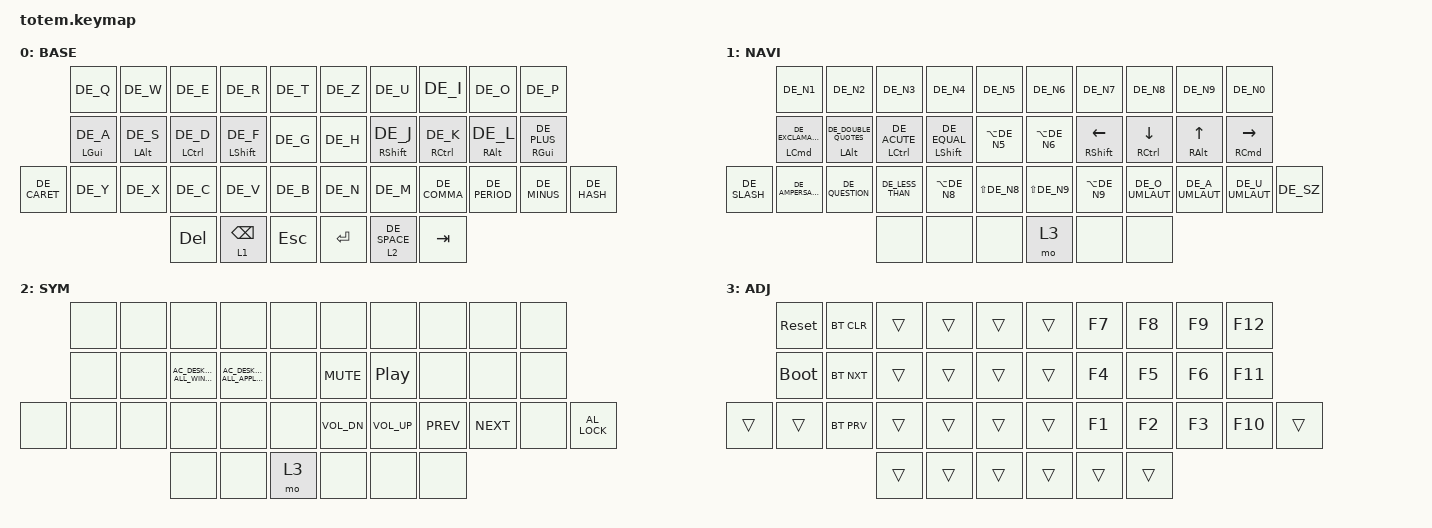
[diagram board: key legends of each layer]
//
//                                                        ▀▀▀▀▀     ▀▀▀▀▀          ▀▀█▀▀
//                                                        ▄▀▀▀▄  ▄  ▄▀▀▀▄  ▄  ▄▀▀▀▄  █  ▄▀▀▀▄
//                                                        █   █  █  █   █  █  █   █  █  █   █
//                                                         ▀▀▀   █   ▀▀▀   █   ▀▀▀   ▀   ▀▀▀
//                                                               █      ▄▄▄█▄▄▄    █   █  
//                                                               ▀      █  █  █     █▄█
//                                                             ▀▀▀▀▀    █  █  █      ▀
//                                                                      ▀  ▀  ▀
//
// ▄▄▄▄▄▄▄▄▄▄▄▄▄▄▄▄▄▄▄▄▄▄▄▄▄▄▄▄▄▄▄▄▄▄▄▄▄▄▄▄▄▄▄▄▄▄▄▄▄▄▄▄▄▄▄▄▄▄▄▄▄▄▄▄▄▄▄▄▄▄▄▄▄▄▄▄▄▄▄▄▄▄▄▄▄▄▄▄▄▄▄▄▄▄▄▄▄▄▄▄▄▄▄▄▄▄▄▄▄▄▄▄▄▄▄▄▄▄▄▄▄▄▄▄▄▄▄▄▄▄▄▄▄▄▄▄▄▄▄▄▄▄▄▄▄▄▄▄▄

#include <behaviors.dtsi>
#include <dt-bindings/zmk/bt.h>
#include <dt-bindings/zmk/keys.h>
#include "keys_de.h"

#define BASE 0
#define NAV  1
#define SYM  2
#define ADJ  3
#define TVP1 4
#define TVP2 5

&mt {
    quick-tap-ms = <100>;
    global-quick-tap;
    flavor = "tap-preferred";
    tapping-term-ms = <170>;
};

/ {
    combos {
        compatible = "zmk,combos";

        combo_esc {
            timeout-ms = <50>;
            key-positions = <0 1>;
            bindings = <&kp ESC>;
        };

        combo_tvp {
            timeout-ms = <100>;
            key-positions = <8 9>;
            bindings = <&kp BACKSPACE>;
        };
    };

    macros {
        gif: gif {
            label = "giphy";
            compatible = "zmk,behavior-macro";
            #binding-cells = <0>;
            bindings =
                <&macro_press>,
                <&kp LSHFT>,
                <&macro_tap>,
                <&kp N2>,
                <&macro_release>,
                <&kp LSHFT>,
                <&macro_tap>,
                <&kp G &kp I &kp F>;
        };
    };

    keymap {
        compatible = "zmk,keymap";

        // ▄▄▄▄▄▄▄▄▄▄▄▄▄▄▄▄▄▄▄▄▄▄▄▄▄▄▄▄▄▄▄▄▄▄▄▄▄▄▄▄▄▄▄▄▄▄▄▄▄▄▄▄▄▄▄▄▄▄▄▄▄▄▄▄▄▄▄▄▄▄▄▄▄▄▄▄▄▄▄▄▄▄▄▄▄▄▄▄▄▄▄▄▄▄▄▄▄▄▄▄▄▄▄▄▄▄▄▄▄▄▄▄▄▄▄▄▄▄▄▄▄▄▄▄▄▄▄▄▄▄▄▄▄▄▄▄▄▄▄▄▄▄▄▄▄▄▄▄▄

        base_layer {
            // ┏━━━━━━━━━━━━━━━━━━━━━━━━━━━━━━━━━━━━━━━┓

            label = "BASE";

            // ┗━━━━━━━━━━━━━━━━━━━━━━━━━━━━━━━━━━━━━━━┛
            //             ┏━━━━━━━━━━━┳━━━━━━━━━━━┳━━━━━━━━━━━┳━━━━━━━━━━━┳━━━━━━━━━━━┓   ┏━━━━━━━━━━━┳━━━━━━━━━━━┳━━━━━━━━━━━┳━━━━━━━━━━━┳━━━━━━━━━━━┓
            //             ┃     Q     ┃     W     ┃     F     ┃     P     ┃     G     ┃   ┃     J     ┃     L     ┃     U     ┃     Y     ┃     ;     ┃
            //             ┣━━━━━━━━━━━╋━━━━━━━━━━━╋━━━━━━━━━━━╋━━━━━━━━━━━╋━━━━━━━━━━━┫   ┣━━━━━━━━━━━╋━━━━━━━━━━━╋━━━━━━━━━━━╋━━━━━━━━━━━╋━━━━━━━━━━━┫
            //             ┃     A     ┃     R     ┃     S     ┃     T     ┃     D     ┃   ┃     H     ┃     N     ┃     E     ┃     I     ┃     O     ┃
            // ┏━━━━━━━━━━━╋━━━━━━━━━━━╋━━━━━━━━━━━╋━━━━━━━━━━━╋━━━━━━━━━━━╋━━━━━━━━━━━┫   ┣━━━━━━━━━━━╋━━━━━━━━━━━╋━━━━━━━━━━━╋━━━━━━━━━━━╋━━━━━━━━━━━╋━━━━━━━━━━━┓
            // ┃     Q     ┃     Z     ┃     X     ┃     C     ┃     V     ┃     B     ┃   ┃     K     ┃     M     ┃     ,     ┃     .     ┃     /     ┃     \     ┃
            // ┗━━━━━━━━━━━┻━━━━━━━━━━━┻━━━━━━━━━━━╋━━━━━━━━━━━╋━━━━━━━━━━━╋━━━━━━━━━━━┫   ┣━━━━━━━━━━━╋━━━━━━━━━━━╋━━━━━━━━━━━╋━━━━━━━━━━━┻━━━━━━━━━━━┻━━━━━━━━━━━┛
            //                                     ┃    DEL    ┃    TAB    ┃    SPC    ┃   ┃   ENTER   ┃           ┃   BSPC    ┃
            //                                     ┗━━━━━━━━━━━┻━━━━━━━━━━━┻━━━━━━━━━━━┛   ┗━━━━━━━━━━━┻━━━━━━━━━━━┻━━━━━━━━━━━┛

            bindings = <
              &kp DE_Q       &kp DE_W       &kp DE_E        &kp DE_R         &kp DE_T    &kp DE_Z   &kp DE_U        &kp DE_I        &kp DE_O       &kp DE_P
              &mt LGUI DE_A  &mt LALT DE_S  &mt LCTRL DE_D  &mt LSHFT DE_F   &kp DE_G    &kp DE_H   &mt RSHFT DE_J  &mt RCTRL DE_K  &mt RALT DE_L  &mt RGUI DE_PLUS
&kp DE_CARET  &kp DE_Y       &kp DE_X       &kp DE_C        &kp DE_V         &kp DE_B    &kp DE_N   &kp DE_M        &kp DE_COMMA    &kp DE_PERIOD  &kp DE_MINUS      &kp DE_HASH
                                            &kp DEL         &lt 1 BACKSPACE  &kp ESC     &kp ENTER  &lt 2 DE_SPACE  &kp TAB
            >;
        };

        // ▄▄▄▄▄▄▄▄▄▄▄▄▄▄▄▄▄▄▄▄▄▄▄▄▄▄▄▄▄▄▄▄▄▄▄▄▄▄▄▄▄▄▄▄▄▄▄▄▄▄▄▄▄▄▄▄▄▄▄▄▄▄▄▄▄▄▄▄▄▄▄▄▄▄▄▄▄▄▄▄▄▄▄▄▄▄▄▄▄▄▄▄▄▄▄▄▄▄▄▄▄▄▄▄▄▄▄▄▄▄▄▄▄▄▄▄▄▄▄▄▄▄▄▄▄▄▄▄▄▄▄▄▄▄▄▄▄▄▄▄▄▄▄▄▄▄▄▄▄

        nav_layer {
            // ┏━━━━━━━━━━━━━━━━━━━━━━━━━━━━━━━━━━━━━━━┓

            label = "NAVI";

            // ┗━━━━━━━━━━━━━━━━━━━━━━━━━━━━━━━━━━━━━━━┛
            //             ┏━━━━━━━━━━━┳━━━━━━━━━━━┳━━━━━━━━━━━┳━━━━━━━━━━━┳━━━━━━━━━━━┓   ┏━━━━━━━━━━━┳━━━━━━━━━━━┳━━━━━━━━━━━┳━━━━━━━━━━━┳━━━━━━━━━━━┓
            //             ┃           ┃           ┃     UP    ┃           ┃     {     ┃   ┃     }     ┃     7     ┃     8     ┃     9     ┃     +     ┃
            //             ┣━━━━━━━━━━━╋━━━━━━━━━━━╋━━━━━━━━━━━╋━━━━━━━━━━━╋━━━━━━━━━━━┫   ┣━━━━━━━━━━━╋━━━━━━━━━━━╋━━━━━━━━━━━╋━━━━━━━━━━━╋━━━━━━━━━━━┫
            //             ┃   SHIFT   ┃   LEFT    ┃    DOWN   ┃   RIGHT   ┃     [     ┃   ┃     ]     ┃     4     ┃     5     ┃     6     ┃     -     ┃
            // ┏━━━━━━━━━━━╋━━━━━━━━━━━╋━━━━━━━━━━━╋━━━━━━━━━━━╋━━━━━━━━━━━╋━━━━━━━━━━━┫   ┣━━━━━━━━━━━╋━━━━━━━━━━━╋━━━━━━━━━━━╋━━━━━━━━━━━╋━━━━━━━━━━━╋━━━━━━━━━━━┓
            // ┃           ┃           ┃   P UP    ┃  C LOCK   ┃  P DOWN   ┃     (     ┃   ┃     )     ┃     1     ┃     2     ┃     3     ┃     *     ┃           ┃
            // ┗━━━━━━━━━━━┻━━━━━━━━━━━┻━━━━━━━━━━━╋━━━━━━━━━━━╋━━━━━━━━━━━╋━━━━━━━━━━━┫   ┣━━━━━━━━━━━╋━━━━━━━━━━━╋━━━━━━━━━━━╋━━━━━━━━━━━┻━━━━━━━━━━━┻━━━━━━━━━━━┛
            //                                     ┃           ┃    TAB    ┃    SPC    ┃   ┃    DEL    ┃     0     ┃           ┃
            //                                     ┗━━━━━━━━━━━┻━━━━━━━━━━━┻━━━━━━━━━━━┛   ┗━━━━━━━━━━━┻━━━━━━━━━━━┻━━━━━━━━━━━┛

            bindings = <
              &kp DE_N1                        &kp DE_N2                      &kp DE_N3                  &kp DE_N4                &kp DE_N5        &kp DE_N6      &kp DE_N7                   &kp DE_N8                     &kp DE_N9               &kp DE_N0
              &mt LEFT_COMMAND DE_EXCLAMATION  &mt LEFT_ALT DE_DOUBLE_QUOTES  &mt LEFT_CONTROL DE_ACUTE  &mt LEFT_SHIFT DE_EQUAL  &kp LA(DE_N5)    &kp LA(DE_N6)  &mt RIGHT_SHIFT LEFT_ARROW  &mt RIGHT_CONTROL DOWN_ARROW  &mt RIGHT_ALT UP_ARROW  &mt RIGHT_COMMAND RIGHT_ARROW
&kp DE_SLASH  &kp DE_AMPERSAND                 &kp DE_QUESTION                &kp DE_LESS_THAN           &kp LA(DE_N8)            &kp LS(DE_N8)    &kp LS(DE_N9)  &kp LA(DE_N9)               &kp DE_O_UMLAUT               &kp DE_A_UMLAUT         &kp DE_U_UMLAUT                &kp DE_SZ
                                                                              &none                      &none                    &none            &mo 3          &none                       &none
            >;
        };

        // ▄▄▄▄▄▄▄▄▄▄▄▄▄▄▄▄▄▄▄▄▄▄▄▄▄▄▄▄▄▄▄▄▄▄▄▄▄▄▄▄▄▄▄▄▄▄▄▄▄▄▄▄▄▄▄▄▄▄▄▄▄▄▄▄▄▄▄▄▄▄▄▄▄▄▄▄▄▄▄▄▄▄▄▄▄▄▄▄▄▄▄▄▄▄▄▄▄▄▄▄▄▄▄▄▄▄▄▄▄▄▄▄▄▄▄▄▄▄▄▄▄▄▄▄▄▄▄▄▄▄▄▄▄▄▄▄▄▄▄▄▄▄▄▄▄▄▄▄▄

        sim_layer {
            // ┏━━━━━━━━━━━━━━━━━━━━━━━━━━━━━━━━━━━━━━━┓

            label = "SYM";

            // ┗━━━━━━━━━━━━━━━━━━━━━━━━━━━━━━━━━━━━━━━┛
            //             ┏━━━━━━━━━━━┳━━━━━━━━━━━┳━━━━━━━━━━━┳━━━━━━━━━━━┳━━━━━━━━━━━┓   ┏━━━━━━━━━━━┳━━━━━━━━━━━┳━━━━━━━━━━━┳━━━━━━━━━━━┳━━━━━━━━━━━┓
            //             ┃     !     ┃     @     ┃     #     ┃     $     ┃     %     ┃   ┃     ˆ     ┃     &     ┃     Ü     ┃     '     ┃     "     ┃
            //             ┣━━━━━━━━━━━╋━━━━━━━━━━━╋━━━━━━━━━━━╋━━━━━━━━━━━╋━━━━━━━━━━━┫   ┣━━━━━━━━━━━╋━━━━━━━━━━━╋━━━━━━━━━━━╋━━━━━━━━━━━╋━━━━━━━━━━━┫
            //             ┃     Ä     ┃           ┃    SZ     ┃           ┃           ┃   ┃   MUTE    ┃   YEN     ┃   EURO    ┃  POUND    ┃     Ö     ┃
            // ┏━━━━━━━━━━━╋━━━━━━━━━━━╋━━━━━━━━━━━╋━━━━━━━━━━━╋━━━━━━━━━━━╋━━━━━━━━━━━┫   ┣━━━━━━━━━━━╋━━━━━━━━━━━╋━━━━━━━━━━━╋━━━━━━━━━━━╋━━━━━━━━━━━╋━━━━━━━━━━━┓
            // ┃           ┃  EMAIL1   ┃  EMAIL2   ┃           ┃           ┃           ┃   ┃   VOL-    ┃   VOL+    ┃   LAST    ┃   NEXT    ┃     \     ┃           ┃
            // ┗━━━━━━━━━━━┻━━━━━━━━━━━┻━━━━━━━━━━━╋━━━━━━━━━━━╋━━━━━━━━━━━╋━━━━━━━━━━━┫   ┣━━━━━━━━━━━╋━━━━━━━━━━━╋━━━━━━━━━━━╋━━━━━━━━━━━┻━━━━━━━━━━━┻━━━━━━━━━━━┛
            //                                     ┃           ┃    GIF    ┃    ADJ    ┃   ┃           ┃           ┃           ┃
            //                                     ┗━━━━━━━━━━━┻━━━━━━━━━━━┻━━━━━━━━━━━┛   ┗━━━━━━━━━━━┻━━━━━━━━━━━┻━━━━━━━━━━━┛

            bindings = <
       &none  &none  &none                              &none                                   &none    &none         &none             &none       &none       &none
       &none  &none  &kp C_AC_DESKTOP_SHOW_ALL_WINDOWS  &kp C_AC_DESKTOP_SHOW_ALL_APPLICATIONS  &none    &kp C_MUTE    &kp C_PLAY_PAUSE  &none       &none       &none
&none  &none  &none  &none                              &none                                   &none    &kp C_VOL_DN  &kp C_VOL_UP      &kp C_PREV  &kp C_NEXT  &none  &kp C_AL_LOCK
                     &none                              &none                                   &mo 3    &none         &none             &none
            >;
        };

        // ▄▄▄▄▄▄▄▄▄▄▄▄▄▄▄▄▄▄▄▄▄▄▄▄▄▄▄▄▄▄▄▄▄▄▄▄▄▄▄▄▄▄▄▄▄▄▄▄▄▄▄▄▄▄▄▄▄▄▄▄▄▄▄▄▄▄▄▄▄▄▄▄▄▄▄▄▄▄▄▄▄▄▄▄▄▄▄▄▄▄▄▄▄▄▄▄▄▄▄▄▄▄▄▄▄▄▄▄▄▄▄▄▄▄▄▄▄▄▄▄▄▄▄▄▄▄▄▄▄▄▄▄▄▄▄▄▄▄▄▄▄▄▄▄▄▄▄▄▄

        adjust_layer {
            // ┏━━━━━━━━━━━━━━━━━━━━━━━━━━━━━━━━━━━━━━━┓

            label = "ADJ";

            // ┗━━━━━━━━━━━━━━━━━━━━━━━━━━━━━━━━━━━━━━━┛
            //             ┏━━━━━━━━━━━┳━━━━━━━━━━━┳━━━━━━━━━━━┳━━━━━━━━━━━┳━━━━━━━━━━━┓   ┏━━━━━━━━━━━┳━━━━━━━━━━━┳━━━━━━━━━━━┳━━━━━━━━━━━┳━━━━━━━━━━━┓
            //             ┃   RESET   ┃ BT CLEAR  ┃  OUT TOG  ┃           ┃           ┃   ┃           ┃    F7     ┃    F8     ┃    F9     ┃    F12    ┃
            //             ┣━━━━━━━━━━━╋━━━━━━━━━━━╋━━━━━━━━━━━╋━━━━━━━━━━━╋━━━━━━━━━━━┫   ┣━━━━━━━━━━━╋━━━━━━━━━━━╋━━━━━━━━━━━╋━━━━━━━━━━━╋━━━━━━━━━━━┫
            //             ┃ BOOTLOAD  ┃ BT NEXT   ┃           ┃           ┃           ┃   ┃           ┃    F4     ┃    F5     ┃    F6     ┃    F11    ┃
            // ┏━━━━━━━━━━━╋━━━━━━━━━━━╋━━━━━━━━━━━╋━━━━━━━━━━━╋━━━━━━━━━━━╋━━━━━━━━━━━┫   ┣━━━━━━━━━━━╋━━━━━━━━━━━╋━━━━━━━━━━━╋━━━━━━━━━━━╋━━━━━━━━━━━╋━━━━━━━━━━━┓
            // ┃           ┃           ┃ BT PREV   ┃           ┃           ┃           ┃   ┃           ┃    F1     ┃    F2     ┃    F3     ┃    F10    ┃           ┃
            // ┗━━━━━━━━━━━┻━━━━━━━━━━━┻━━━━━━━━━━━╋━━━━━━━━━━━╋━━━━━━━━━━━╋━━━━━━━━━━━┫   ┣━━━━━━━━━━━╋━━━━━━━━━━━╋━━━━━━━━━━━╋━━━━━━━━━━━┻━━━━━━━━━━━┻━━━━━━━━━━━┛
            //                                     ┃           ┃           ┃           ┃   ┃           ┃           ┃           ┃
            //                                     ┗━━━━━━━━━━━┻━━━━━━━━━━━┻━━━━━━━━━━━┛   ┗━━━━━━━━━━━┻━━━━━━━━━━━┻━━━━━━━━━━━┛

            bindings = <
        &sys_reset   &bt BT_CLR  &trans  &trans  &trans    &trans  &kp F7  &kp F8  &kp F9  &kp F12
        &bootloader  &bt BT_NXT  &trans  &trans  &trans    &trans  &kp F4  &kp F5  &kp F6  &kp F11
&trans  &trans       &bt BT_PRV  &trans  &trans  &trans    &trans  &kp F1  &kp F2  &kp F3  &kp F10  &trans
                                 &trans  &trans  &trans    &trans  &trans  &trans
            >;
        };

        // ▄▄▄▄▄▄▄▄▄▄▄▄▄▄▄▄▄▄▄▄▄▄▄▄▄▄▄▄▄▄▄▄▄▄▄▄▄▄▄▄▄▄▄▄▄▄▄▄▄▄▄▄▄▄▄▄▄▄▄▄▄▄▄▄▄▄▄▄▄▄▄▄▄▄▄▄▄▄▄▄▄▄▄▄▄▄▄▄▄▄▄▄▄▄▄▄▄▄▄▄▄▄▄▄▄▄▄▄▄▄▄▄▄▄▄▄▄▄▄▄▄▄▄▄▄▄▄▄▄▄▄▄▄▄▄▄▄▄▄▄▄▄▄▄▄▄▄▄▄
        // ▄▄▄▄▄▄▄▄▄▄▄▄▄▄▄▄▄▄▄▄▄▄▄▄▄▄▄▄▄▄▄▄▄▄▄▄▄▄▄▄▄▄▄▄▄▄▄▄▄▄▄▄▄▄▄▄▄▄▄▄▄▄▄▄▄▄▄▄▄▄▄▄▄▄▄▄▄▄▄▄▄▄▄▄▄▄▄▄▄▄▄▄▄▄▄▄▄▄▄▄▄▄▄▄▄▄▄▄▄▄▄▄▄▄▄▄▄▄▄▄▄▄▄▄▄▄▄▄▄▄▄▄▄▄▄▄▄▄▄▄▄▄▄▄▄▄▄▄▄
    };
};
